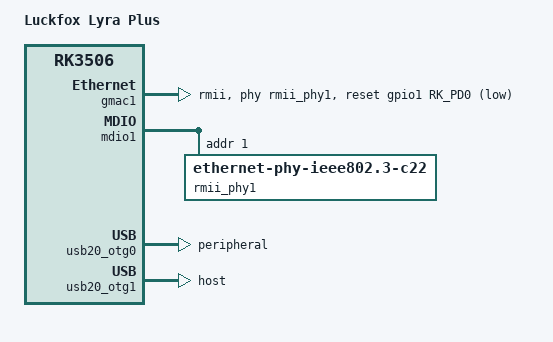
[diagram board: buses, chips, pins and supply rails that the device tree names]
// SPDX-License-Identifier: (GPL-2.0+ OR MIT)
/*
 * Copyright (c) 2024 Rockchip Electronics Co., Ltd.
 */

/dts-v1/;

#include "rk3506-luckfox-lyra.dtsi"

/ {
	model = "Luckfox Lyra Plus";
	compatible = "rockchip,rk3506g-demo-display-control", "rockchip,rk3506";

	chosen {
		bootargs = "earlycon=uart8250,mmio32,0xff0a0000 console=tty1 console=tty2 console=ttyFIQ0 fbcon=font:VGA8x8 storagemedia=sd root=/dev/mmcblk0p3 rootfstype=ext4 rootwait snd_aloop.index=7 snd_aloop.use_raw_jiffies=1";
	};
};

/**********display**********/
&cma {
	size = <0x1000000>;
};

&dsi {
	status = "disabled";
};

&dsi_dphy {
	status = "disabled";
};

&dsi_in_vop {
	status = "disabled";
};

&route_dsi {
	status = "disabled";
};

/**********ethernet**********/
&gmac1 {
	phy-mode = "rmii";
	clock_in_out = "output";

	snps,reset-gpio = <&gpio1 RK_PD0 GPIO_ACTIVE_LOW>;
	snps,reset-active-low;
	snps,reset-delays-us = <0 20000 100000>;

	pinctrl-names = "default";
	pinctrl-0 = <&eth_rmii1_miim_pins &eth_rmii1_tx_bus2_pins &eth_rmii1_rx_bus2_pins &eth_rmii1_clk_pins>;

	phy-handle = <&rmii_phy1>;
	status = "okay";
};

&mdio1 {
	rmii_phy1: phy@1 {
		compatible = "ethernet-phy-ieee802.3-c22";
		reg = <0x1>;
	};
};

/**********usb**********/
&usb20_otg0 {
	dr_mode = "peripheral";
	status = "okay";
};

&usb20_otg1 {
	dr_mode = "host";
	status = "okay";
};
